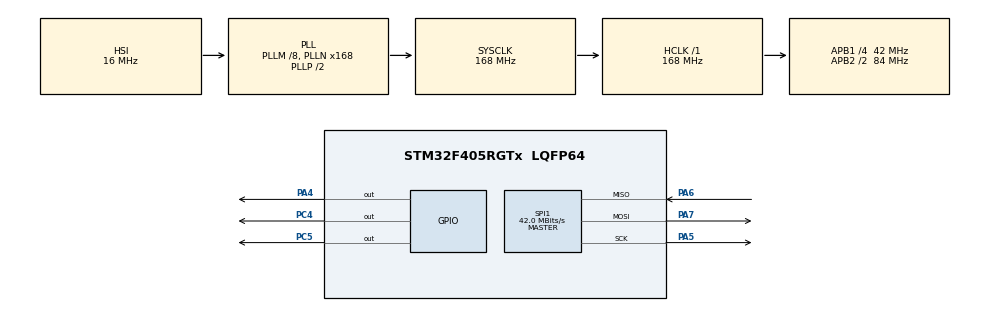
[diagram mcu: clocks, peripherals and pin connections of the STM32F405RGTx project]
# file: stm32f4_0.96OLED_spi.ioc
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Mcu.Family=STM32F4
Mcu.Name=STM32F405RGTx
Mcu.Package=LQFP64
NVIC.PriorityGroup=NVIC_PRIORITYGROUP_4
PA13.Mode=Serial_Wire
PA13.Signal=SYS_JTMS-SWDIO
PA14.Mode=Serial_Wire
PA14.Signal=SYS_JTCK-SWCLK
PA4.GPIO_PuPd=GPIO_PULLUP
PA4.PinState=GPIO_PIN_RESET
PA4.Signal=GPIO_Output
PA5.Mode=Full_Duplex_Master
PA5.Signal=SPI1_SCK
PA6.Mode=Full_Duplex_Master
PA6.Signal=SPI1_MISO
PA7.Mode=Full_Duplex_Master
PA7.Signal=SPI1_MOSI
PC4.GPIO_PuPd=GPIO_PULLUP
PC4.Signal=GPIO_Output
PC5.GPIO_PuPd=GPIO_PULLUP
PC5.Signal=GPIO_Output
PH0-OSC_IN.Mode=HSE-External-Oscillator
PH0-OSC_IN.Signal=RCC_OSC_IN
PH1-OSC_OUT.Mode=HSE-External-Oscillator
PH1-OSC_OUT.Signal=RCC_OSC_OUT
ProjectManager.HeapSize=0x200
ProjectManager.StackSize=0x400
ProjectManager.TargetToolchain=MDK-ARM V5.32
RCC.48MHZClocksFreq_Value=84000000
RCC.AHBFreq_Value=168000000
RCC.APB1CLKDivider=RCC_HCLK_DIV4
RCC.APB1Freq_Value=42000000
RCC.APB1TimFreq_Value=84000000
RCC.APB2CLKDivider=RCC_HCLK_DIV2
RCC.APB2Freq_Value=84000000
RCC.APB2TimFreq_Value=168000000
RCC.CortexFreq_Value=168000000
RCC.HCLKFreq_Value=168000000
RCC.HSE_VALUE=25000000
RCC.HSI_VALUE=16000000
RCC.LSE_VALUE=32768
RCC.PLLM=8
RCC.PLLN=168
RCC.SYSCLKFreq_VALUE=168000000
RCC.SYSCLKSource=RCC_SYSCLKSOURCE_PLLCLK
RCC.VCOOutputFreq_Value=336000000
SPI1.CalculateBaudRate=42.0 MBits/s
SPI1.Direction=SPI_DIRECTION_2LINES
SPI1.Mode=SPI_MODE_MASTER
SPI1.VirtualType=VM_MASTER
board=custom

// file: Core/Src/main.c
/* USER CODE BEGIN Header */
/**
  ******************************************************************************
  * @file           : main.c
  * @brief          : Main program body
  ******************************************************************************
  * @attention
  *
  * Copyright (c) 2022 STMicroelectronics.
  * All rights reserved.
  *
  * This software is licensed under terms that can be found in the LICENSE file
  * in the root directory of this software component.
  * If no LICENSE file comes with this software, it is provided AS-IS.
  *
  ******************************************************************************
  */
/* USER CODE END Header */
#include "main.h"
#include "spi.h"
#include "gpio.h"

/* USER CODE BEGIN Includes */
#include "oled.h"
#include "bmp.h"
/* USER CODE END Includes */

void SystemClock_Config(void);

int main(void)
{

  /* MCU Configuration--------------------------------------------------------*/

  /* Reset of all peripherals, Initializes the Flash interface and the Systick. */
  HAL_Init();

  /* Configure the system clock */
  SystemClock_Config();

  /* Initialize all configured peripherals */
  MX_GPIO_Init();
  MX_SPI1_Init();
  /* USER CODE BEGIN 2 */
  uint8_t t=' ';
  OLED_Init();
  OLED_ColorTurn(0);//0正常显示，1 反色显示
  OLED_DisplayTurn(0);//0正常显示 1 屏幕翻转显示
  /* USER CODE END 2 */

  /* Infinite loop */
  while (1)
  {

    /* USER CODE BEGIN 3 */
		OLED_ShowPicture(0,0,128,64,BMP2,1);
		OLED_Refresh();
		HAL_Delay(1000);
		OLED_Clear();
		OLED_ShowChinese(0,0,0,16,1);//中
		OLED_ShowChinese(18,0,1,16,1);//国
		OLED_ShowChinese(36,0,2,16,1);//我
		OLED_ShowChinese(54,0,3,16,1);//爱
		OLED_ShowChinese(72,0,4,16,1);//你
		OLED_ShowChinese(90,0,5,16,1);//呀
		OLED_ShowString(8,16,"Hello World!",16,1);
		OLED_ShowString(20,32,"123456",16,1);
		OLED_ShowString(0,48,"ASCII:",16,1);
		OLED_ShowString(63,48,"CODE:",16,1);
		OLED_ShowChar(48,48,t,16,1);//显示ASCII字符
		t++;
		if(t>'~')t=' ';
		OLED_ShowNum(103,48,t,3,16,1);
		OLED_Refresh();
		HAL_Delay(1000);
		OLED_Clear();
		OLED_ShowChinese(0,0,0,16,1);  //16*16 中
	  OLED_ShowChinese(16,0,0,24,1); //24*24 中
		OLED_ShowChinese(24,20,0,32,1);//32*32 中
	  OLED_ShowChinese(64,0,0,64,1); //64*64 中
		OLED_Refresh();
		HAL_Delay(1000);
  	OLED_Clear();
		OLED_ShowString(0,0,"ABC",8,1);//6*8 “ABC”
		OLED_ShowString(0,8,"ABC",12,1);//6*12 “ABC”
	  OLED_ShowString(0,20,"ABC",16,1);//8*16 “ABC”
		OLED_ShowString(0,36,"ABC",24,1);//12*24 “ABC”
	  OLED_Refresh();
		HAL_Delay(1000);
		OLED_ScrollDisplay(6,4,1);

  }
  /* USER CODE END 3 */
}

void SystemClock_Config(void)
{
  RCC_OscInitTypeDef RCC_OscInitStruct = {0};
  RCC_ClkInitTypeDef RCC_ClkInitStruct = {0};

  /** Configure the main internal regulator output voltage
  */
  __HAL_RCC_PWR_CLK_ENABLE();
  __HAL_PWR_VOLTAGESCALING_CONFIG(PWR_REGULATOR_VOLTAGE_SCALE1);

  /** Initializes the RCC Oscillators according to the specified parameters
  * in the RCC_OscInitTypeDef structure.
  */
  RCC_OscInitStruct.OscillatorType = RCC_OSCILLATORTYPE_HSI;
  RCC_OscInitStruct.HSIState = RCC_HSI_ON;
  RCC_OscInitStruct.HSICalibrationValue = RCC_HSICALIBRATION_DEFAULT;
  RCC_OscInitStruct.PLL.PLLState = RCC_PLL_ON;
  RCC_OscInitStruct.PLL.PLLSource = RCC_PLLSOURCE_HSI;
  RCC_OscInitStruct.PLL.PLLM = 8;
  RCC_OscInitStruct.PLL.PLLN = 168;
  RCC_OscInitStruct.PLL.PLLP = RCC_PLLP_DIV2;
  RCC_OscInitStruct.PLL.PLLQ = 4;
  if (HAL_RCC_OscConfig(&RCC_OscInitStruct) != HAL_OK)
  {
    Error_Handler();
  }

  /** Initializes the CPU, AHB and APB buses clocks
  */
  RCC_ClkInitStruct.ClockType = RCC_CLOCKTYPE_HCLK|RCC_CLOCKTYPE_SYSCLK
                              |RCC_CLOCKTYPE_PCLK1|RCC_CLOCKTYPE_PCLK2;
  RCC_ClkInitStruct.SYSCLKSource = RCC_SYSCLKSOURCE_PLLCLK;
  RCC_ClkInitStruct.AHBCLKDivider = RCC_SYSCLK_DIV1;
  RCC_ClkInitStruct.APB1CLKDivider = RCC_HCLK_DIV4;
  RCC_ClkInitStruct.APB2CLKDivider = RCC_HCLK_DIV2;

  if (HAL_RCC_ClockConfig(&RCC_ClkInitStruct, FLASH_LATENCY_5) != HAL_OK)
  {
    Error_Handler();
  }
}

void Error_Handler(void)
{
  __disable_irq();
  while (1)
  {
  }
}
